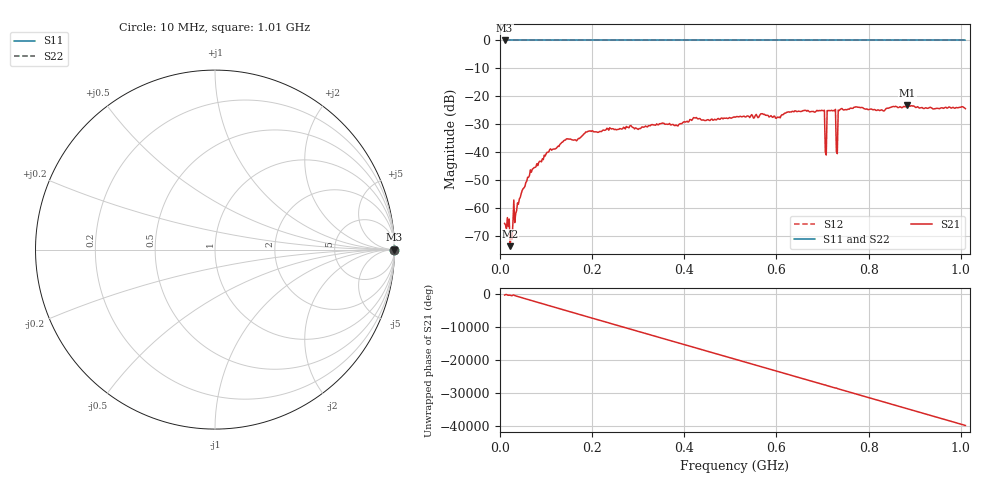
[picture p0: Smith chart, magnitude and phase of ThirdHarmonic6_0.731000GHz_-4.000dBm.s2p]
! 8/16/2025 12:26:47 AM
! C:\ANRITSUVNA\TEMP\TEMP.S2P
! CHANNEL.1
! TR.MEASUREMENT
! RAW.DATA
! RF.CORRECTION.OFF
! AVERAGING.OFF
! IF.BANDWIDTH: 5KHZ
! SWEEPTYPE:  FREQ.SWEEP(Linear)
! Reference Plane Port Info
! PORT:  PORT1  PORT2
! DISTANCE:  0  m  0  m
! TIME:  0  s  0  s
! PHASE.OFFSET:  0  deg.  0  deg.
! LOSS:  0  dB  0  dB
! REF.LOSS:  0  dB  0  dB
! REF.FREQ:  0  Hz  0  Hz
! Power Info
! POWER:  -20  dBm  -20  dBm
! EFF.POWER:  -20  dBm  -20  dBm
! SOURCE.ATTEN:  0  dB  0  dB
! TEST.ATTEN:  0  dB  0  dB
# GHZ S RI R 50.0
! FREQ.GHZ  S11RE  S11IM  S21RE  S21IM  S12RE  S12IM  S22RE  S22IM
!; PortSelection: Port_12
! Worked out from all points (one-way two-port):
!   501 points, 10 MHz to 1.01 GHz, reference 50 ohm
!   highest |S21| = -23.32 dB at 884 MHz (marker M1); lowest = -73.8 dB at 22 MHz (marker M2)
!   lowest |S11| = 0.0 dB at 10 MHz (marker M3)
!   |S11| at or under -10 dB: nowhere
!   |S22| runs from 0.0 to 0.0 dB; largest |S21 - S12| = 1.1
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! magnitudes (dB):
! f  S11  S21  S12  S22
! 10 MHz  0.0  -65.6  0.0  0.0
! 16 MHz  0.0  -63.6  0.0  0.0
! 22 MHz  0.0  -73.8  0.0  0.0
! 46 MHz  0.0  -55.0  0.0  0.0
! 70 MHz  0.0  -46.2  0.0  0.0
! 106 MHz  0.0  -39.9  0.0  0.0
! 142 MHz  0.0  -35.8  0.0  0.0
! 178 MHz  0.0  -34.3  0.0  0.0
! 344 MHz  0.0  -30.3  0.0  0.0
! 510 MHz  0.0  -27.6  0.0  0.0
! 678 MHz  0.0  -25.5  0.0  0.0
! 700 MHz  0.0  -25.1  0.0  0.0
! 704 MHz  0.0  -25.1  0.0  0.0
! 710 MHz  0.0  -25.2  0.0  0.0
! 714 MHz  0.0  -25.1  0.0  0.0
! 724 MHz  0.0  -25.1  0.0  0.0
! 728 MHz  0.0  -24.7  0.0  0.0
! 734 MHz  0.0  -25.0  0.0  0.0
! 738 MHz  0.0  -24.8  0.0  0.0
! 844 MHz  0.0  -24.2  0.0  0.0
! 884 MHz  0.0  -23.3  0.0  0.0
! 1.01 GHz  0.0  -24.5  0.0  0.0
